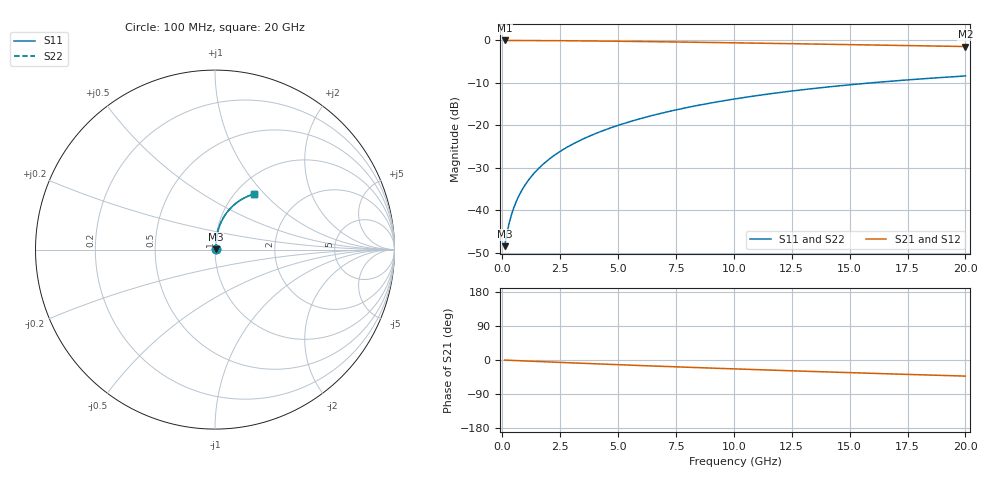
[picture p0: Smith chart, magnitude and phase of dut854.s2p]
! Touchstone file exported from HFSS 2024.1.0
!  File:  C:/UserFiles/LocalFiles/RDL_TSV_Batchsim/temp_RDL_bottom_854_1779864295.aedt
!  Generated:  02:47:26 PM May 27, 2026
!  Design:  RDL_bottom
!  Project:  temp_RDL_bottom_854_1779864295
!  Setup:  Setup1
!  Solution:  Sweep
! Variables:
!  dtsv = 10.80580581um
!  hbump = 3um
!  htsv = 75.43um
!  ldown = 611.58um
!  lrdl = 100um
!  p = 40
!  p1 = 46.81um
!  rhole = 1um
!  t = 450um
!  tdown = 3.7um
!  trdl = 3.915915916um
!  wdown = 20.12um
!  wrdl = 20um
# GHz S MA R 50.000000
! Terminal data exported
! Port[1] = RDL1_T1
! Port[2] = RDL1_T2
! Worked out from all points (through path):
!   200 points, 100 MHz to 20 GHz, reference 50 ohm
!   highest |S21| = -0.03 dB at 100 MHz (marker M1); lowest = -1.5 dB at 20 GHz (marker M2)
!   group delay of S21, straight-line fit = 5.86 ps
!   lowest |S11| = -48.5 dB at 100 MHz (marker M3), VSWR 1.01, Z = 50.3 + j0.216 ohm
!   |S11| at or under -10 dB: start of sweep to 15.97 GHz
!   |S22| runs from -48.5 to -8.4 dB; largest |S21 - S12| = 4e-15
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0.1  0.003755 34.8  0.9969 -0.3  0.9969 -0.3  0.003755 34.8
! Gamma 0 0 0 0
! Port Impedance 50 0 50 0
0.2  0.005311 52.6  0.9968 -0.5  0.9968 -0.5  0.005311 52.6
0.3  0.007075 61.4  0.9966 -0.8  0.9966 -0.8  0.007075 61.4
0.4  0.008885 66.6  0.9964 -1.0  0.9964 -1.0  0.008884 66.6
0.5  0.01071 70.0  0.9962 -1.3  0.9962 -1.3  0.01071 70.0
0.6  0.01255 72.5  0.996 -1.6  0.996 -1.6  0.01255 72.5
0.8  0.01627 75.9  0.9957 -2.1  0.9957 -2.1  0.01627 76.0
1.1  0.02194 78.9  0.9951 -2.8  0.9951 -2.8  0.02194 78.9
1.3  0.02577 80.1  0.9946 -3.3  0.9946 -3.3  0.02577 80.1
1.6  0.03154 81.3  0.9939 -4.1  0.9939 -4.1  0.03154 81.3
2.1  0.04127 82.3  0.9922 -5.3  0.9922 -5.3  0.04128 82.4
2.7  0.05309 82.8  0.9898 -6.8  0.9898 -6.8  0.05309 82.8
3.5  0.06905 82.7  0.9858 -8.8  0.9858 -8.8  0.06906 82.7
4.2  0.08321 82.3  0.9817 -10.5  0.9817 -10.5  0.08322 82.3
5  0.09958 81.5  0.9764 -12.4  0.9764 -12.4  0.0996 81.5
5.9  0.1182 80.3  0.9698 -14.5  0.9698 -14.5  0.1182 80.4
6.8  0.1369 79.0  0.9628 -16.5  0.9628 -16.5  0.137 79.1
8.4  0.1703 76.4  0.9496 -20.0  0.9496 -20.0  0.1703 76.4
10.1  0.2052 73.3  0.9348 -23.6  0.9348 -23.6  0.2053 73.3
13.4  0.27 67.0  0.9053 -30.3  0.9053 -30.3  0.2701 67.0
16.7  0.3287 60.7  0.8753 -36.6  0.8753 -36.6  0.3289 60.7
20  0.3804 54.7  0.8457 -42.5  0.8457 -42.5  0.3806 54.7
